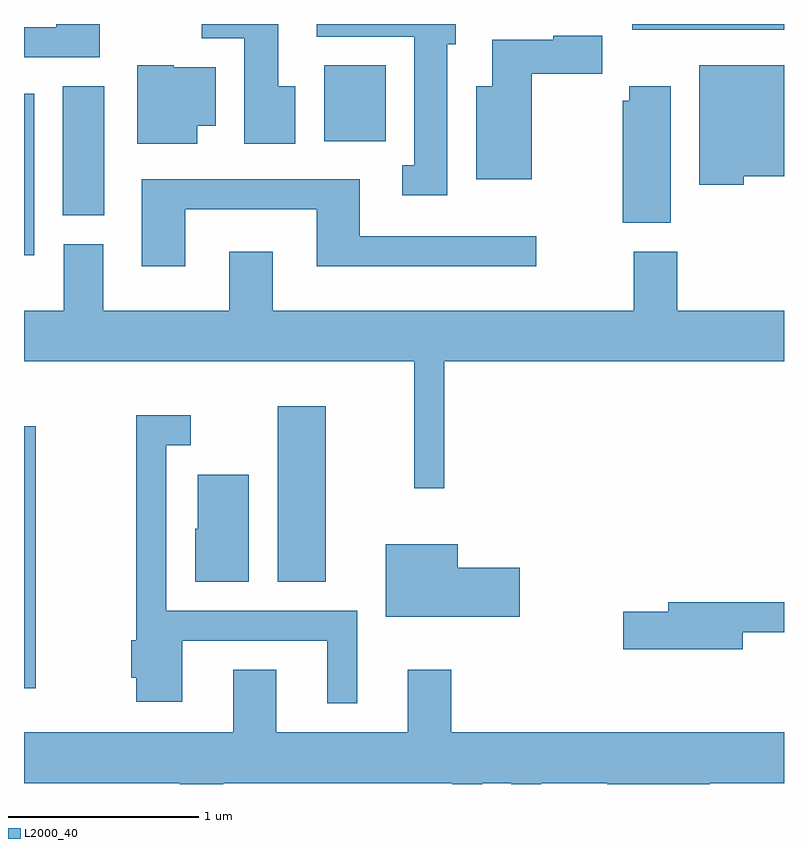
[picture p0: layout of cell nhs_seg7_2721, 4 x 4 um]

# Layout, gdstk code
import gdstk
lib = gdstk.Library(unit=1e-6, precision=1e-09)
def R(c, l, rs):  # rectangles x0, y0, x1, y1
    for r in rs: c.add(gdstk.rectangle(r[:2], r[2:], *l))
def P(c, l, *ps):  # polygons
    for p in ps: c.add(gdstk.Polygon(p, *l))
L2000_40 = (2000, 40)

nhs_seg7_2721 = lib.new_cell('nhs_seg7_2721')
R(nhs_seg7_2721, L2000_40, [(267.611,1774.756,267.674,1776.134), (268.946,1775.316,269.199,1776.239), (267.611,1777.036,267.664,1777.884), (267.816,1777.246,268.034,1777.924), (269.191,1777.636,269.514,1778.034), (270.813,1778.221,271.611,1778.252)])
P(nhs_seg7_2721, L2000_40, [(269.839,1778.146),(269.884,1778.146),(269.884,1778.252),(269.151,1778.252),(269.151,1778.186),(269.666,1778.186),(269.666,1777.509),(269.603,1777.509),(269.603,1777.351),(269.839,1777.351)],
  [(269.039,1777.924),(268.949,1777.924),(268.949,1778.252),(268.546,1778.252),(268.546,1778.176),(268.771,1778.176),(268.771,1777.621),(269.039,1777.621)],
  [(268.009,1778.252),(267.781,1778.252),(267.781,1778.234),(267.611,1778.234),(267.611,1778.076),(268.009,1778.076)],
  [(270.284,1777.991),(270.654,1777.991),(270.654,1778.189),(270.396,1778.189),(270.396,1778.169),(270.076,1778.169),(270.076,1777.924),(269.991,1777.924),(269.991,1777.436),(270.284,1777.436)],
  [(268.524,1777.716),(268.619,1777.716),(268.619,1778.024),(268.4,1778.024),(268.4,1778.034),(268.206,1778.034),(268.206,1777.621),(268.524,1777.621)],
  [(271.399,1777.451),(271.611,1777.451),(271.611,1778.034),(271.166,1778.034),(271.166,1777.406),(271.399,1777.406)],
  [(271.014,1777.924),(270.796,1777.924),(270.796,1777.849),(270.761,1777.849),(270.761,1777.206),(271.014,1777.206)],
  [(268.459,1777.276),(269.151,1777.276),(269.151,1776.976),(270.308,1776.976),(270.308,1777.134),(269.379,1777.134),(269.379,1777.434),(268.231,1777.434),(268.231,1776.976),(268.459,1776.976)],
  [(269.824,1776.476),(271.611,1776.476),(271.611,1776.744),(271.049,1776.744),(271.049,1777.054),(270.821,1777.054),(270.821,1776.744),(268.919,1776.744),(268.919,1777.054),(268.691,1777.054),(268.691,1776.744),(268.029,1776.744),(268.029,1777.094),(267.821,1777.094),(267.821,1776.744),(267.611,1776.744),(267.611,1776.476),(269.666,1776.476),(269.666,1775.808),(269.824,1775.808)],
  [(269.364,1775.164),(268.359,1775.164),(268.359,1776.036),(268.488,1776.036),(268.488,1776.194),(268.201,1776.194),(268.201,1775.009),(268.176,1775.009),(268.176,1774.811),(268.201,1774.811),(268.201,1774.686),(268.444,1774.686),(268.444,1775.006),(269.206,1775.006),(269.206,1774.678),(269.364,1774.678)],
  [(268.794,1775.879),(268.526,1775.879),(268.526,1775.595),(268.511,1775.595),(268.511,1775.316),(268.794,1775.316)],
  [(270.219,1775.389),(269.894,1775.389),(269.894,1775.514),(269.516,1775.514),(269.516,1775.131),(270.219,1775.131)],
  [(271.394,1775.051),(271.611,1775.051),(271.611,1775.209),(271.001,1775.209),(271.001,1775.159),(270.766,1775.159),(270.766,1774.961),(271.394,1774.961)],
  [(268.659,1774.256),(269.866,1774.256),(269.866,1774.252),(270.024,1774.252),(270.024,1774.256),(270.176,1774.256),(270.176,1774.252),(270.334,1774.252),(270.334,1774.256),(270.681,1774.256),(270.681,1774.252),(271.219,1774.252),(271.219,1774.256),(271.611,1774.256),(271.611,1774.524),(269.859,1774.524),(269.859,1774.854),(269.631,1774.854),(269.631,1774.524),(268.939,1774.524),(268.939,1774.854),(268.711,1774.854),(268.711,1774.524),(267.611,1774.524),(267.611,1774.256),(268.431,1774.256),(268.431,1774.252),(268.659,1774.252)])

lib.write_gds('nhs_seg7_2721.gds')
